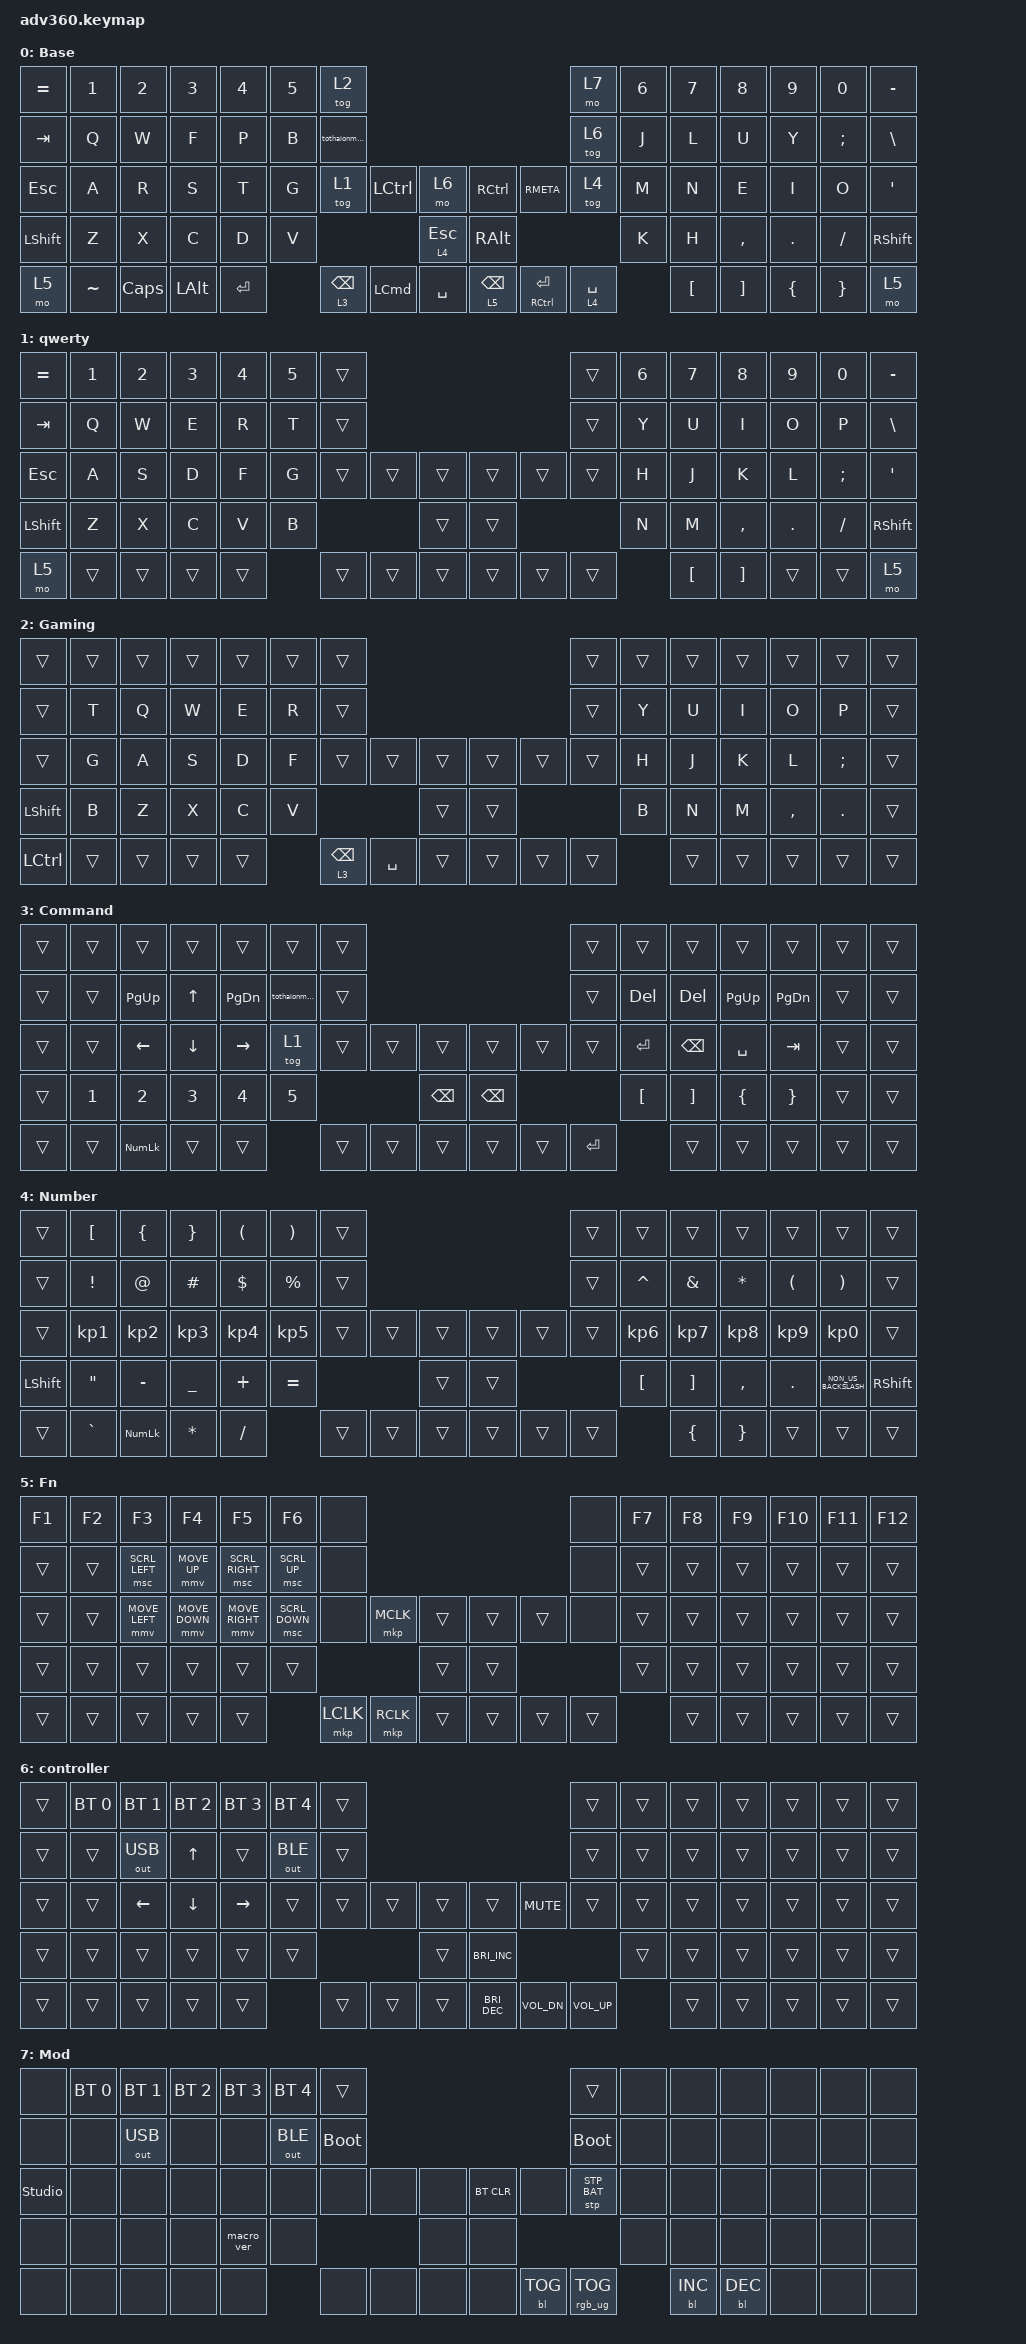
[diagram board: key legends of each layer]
#include <dt-bindings/zmk/stp.h>
#include <behaviors.dtsi>
#include <dt-bindings/zmk/backlight.h>
#include <dt-bindings/zmk/bt.h>
#include <dt-bindings/zmk/keys.h>
#include <dt-bindings/zmk/outputs.h>
#include <dt-bindings/zmk/pointing.h>
#include <dt-bindings/zmk/rgb.h>

/ {
    behaviors {
        #include "macros.dtsi"
      #include "version.dtsi"

        hm: homerow_mods {
            compatible = "zmk,behavior-hold-tap";
            label = "HOMEROW_MODS";
            #binding-cells = <2>;
            tapping-term-ms = <200>;
            quick_tap_ms = <175>;
            flavor = "tap-preferred";
            bindings = <&kp>, <&kp>;
        };

        thumb_layer_spacebar: thumb_layer_spacebar {
            compatible = "zmk,behavior-hold-tap";
            label = "THUMB_LAYER_SPACEBAR";
            bindings = <&mo>, <&kp>;

            #binding-cells = <2>;
            tapping-term-ms = <170>;
            quick-tap-ms = <200>;
            flavor = "balanced";
        };

        thumb_layer: thumb_layer {
            compatible = "zmk,behavior-hold-tap";
            label = "THUMB_LAYER";
            bindings = <&mo>, <&kp>;

            #binding-cells = <2>;
            flavor = "balanced";
            tapping-term-ms = <200>;
            quick-tap-ms = <300>;
        };
    };

    macros {
        tothaionmac: tothaionmac {
            compatible = "zmk,behavior-macro";
            #binding-cells = <0>;
            bindings = <&kp CAPSLOCK &tog 1>;
            label = "TOTHAIONMAC";
        };
    };

    keymap {
        compatible = "zmk,keymap";

        default_layer {
            display-name = "Base";
            bindings = <
&kp EQUAL  &kp N1     &kp N2    &kp N3    &kp N4     &kp N5  &tog 2                                                                                                    &mo 7                 &kp N6  &kp N7            &kp N8             &kp N9          &kp N0           &kp MINUS
&kp TAB    &kp Q      &kp W     &kp F     &kp P      &kp B   &tothaionmac                                                                                              &tog 6                &kp J   &kp L             &kp U              &kp Y           &kp SEMICOLON    &kp BSLH
&kp ESC    &kp A      &kp R     &kp S     &kp T      &kp G   &tog 1                             &kp LCTRL  &mo 6             &kp RCTRL        &kp RMETA                &tog 4                &kp M   &kp N             &kp E              &kp I           &kp O            &kp SQT
&kp LSHFT  &kp Z      &kp X     &kp C     &kp D      &kp V                                                 &lt 4 ESCAPE      &kp RIGHT_ALT                                                   &kp K   &kp H             &kp COMMA          &kp DOT         &kp FSLH         &kp RSHFT
&mo 5      &kp TILDE  &kp CAPS  &kp LALT  &kp ENTER          &thumb_layer_spacebar 3 BACKSPACE  &kp LCMD   &kp SPACE         &lt 5 BACKSPACE  &mt RIGHT_CONTROL ENTER  &thumb_layer 4 SPACE          &kp LEFT_BRACKET  &kp RIGHT_BRACKET  &kp LEFT_BRACE  &kp RIGHT_BRACE  &mo 5
            >;
        };

        qwerty {
            display-name = "qwerty";
            bindings = <
&kp EQUAL  &kp N1  &kp N2  &kp N3  &kp N4  &kp N5  &trans                                      &trans  &kp N6  &kp N7            &kp N8             &kp N9   &kp N0    &kp MINUS
&kp TAB    &kp Q   &kp W   &kp E   &kp R   &kp T   &trans                                      &trans  &kp Y   &kp U             &kp I              &kp O    &kp P     &kp BSLH
&kp ESC    &kp A   &kp S   &kp D   &kp F   &kp G   &trans  &trans  &trans      &trans  &trans  &trans  &kp H   &kp J             &kp K              &kp L    &kp SEMI  &kp SQT
&kp LSHFT  &kp Z   &kp X   &kp C   &kp V   &kp B                   &trans      &trans                  &kp N   &kp M             &kp COMMA          &kp DOT  &kp FSLH  &kp RSHFT
&mo 5      &trans  &trans  &trans  &trans          &trans  &trans  &trans      &trans  &trans  &trans          &kp LEFT_BRACKET  &kp RIGHT_BRACKET  &trans   &trans    &mo 5
            >;
        };

        Gaming {
            label = "Gaming";
            bindings = <
&trans          &trans  &trans  &trans  &trans  &trans  &trans                                                           &trans  &trans  &trans  &trans  &trans     &trans    &trans
&trans          &kp T   &kp Q   &kp W   &kp E   &kp R   &trans                                                           &trans  &kp Y   &kp U   &kp I   &kp O      &kp P     &trans
&trans          &kp G   &kp A   &kp S   &kp D   &kp F   &trans                    &trans     &trans      &trans  &trans  &trans  &kp H   &kp J   &kp K   &kp L      &kp SEMI  &trans
&kp LEFT_SHIFT  &kp B   &kp Z   &kp X   &kp C   &kp V                                        &trans      &trans                  &kp B   &kp N   &kp M   &kp COMMA  &kp DOT   &trans
&kp LCTRL       &trans  &trans  &trans  &trans          &thumb_layer 3 BACKSPACE  &kp SPACE  &trans      &trans  &trans  &trans          &trans  &trans  &trans     &trans    &trans
            >;
        };

        cmd {
            bindings = <
&trans  &trans  &trans          &trans    &trans         &trans        &trans                                          &trans     &trans            &trans             &trans          &trans           &trans  &trans
&trans  &trans  &kp PAGE_UP     &kp UP    &kp PAGE_DOWN  &tothaionmac  &trans                                          &trans     &kp DELETE        &kp DEL            &kp PAGE_UP     &kp PAGE_DOWN    &trans  &trans
&trans  &trans  &kp LEFT        &kp DOWN  &kp RIGHT      &tog 1        &trans  &trans  &trans        &trans    &trans  &trans     &kp ENTER         &kp BACKSPACE      &kp SPACE       &kp TAB          &trans  &trans
&trans  &kp N1  &kp N2          &kp N3    &kp N4         &kp N5                        &kp BSPC      &kp BSPC                     &kp LEFT_BRACKET  &kp RIGHT_BRACKET  &kp LEFT_BRACE  &kp RIGHT_BRACE  &trans  &trans
&trans  &trans  &kp KP_NUMLOCK  &trans    &trans                       &trans  &trans  &trans        &trans    &trans  &kp ENTER                    &trans             &trans          &trans           &trans  &trans
            >;

            label = "Command";
        };

        number {
            bindings = <
&trans     &kp LEFT_BRACKET   &kp LEFT_BRACE   &kp RIGHT_BRACE  &kp LEFT_PARENTHESIS  &kp RIGHT_PARENTHESIS  &trans                                      &trans  &trans            &trans             &trans           &trans                &trans                 &trans
&trans     &kp EXCLAMATION    &kp AT           &kp HASH         &kp DLLR              &kp PRCNT              &trans                                      &trans  &kp CARET         &kp AMPERSAND      &kp ASTERISK     &kp LEFT_PARENTHESIS  &kp RIGHT_PARENTHESIS  &trans
&trans     &kp KP_NUMBER_1    &kp KP_NUMBER_2  &kp KP_NUMBER_3  &kp KP_NUMBER_4       &kp KP_NUMBER_5        &trans  &trans  &trans      &trans  &trans  &trans  &kp KP_NUMBER_6   &kp KP_NUMBER_7    &kp KP_N8        &kp KP_NUMBER_9       &kp KP_NUMBER_0        &trans
&kp LSHFT  &kp DOUBLE_QUOTES  &kp MINUS        &kp UNDERSCORE   &kp PLUS              &kp EQUAL                              &trans      &trans                  &kp LEFT_BRACKET  &kp RIGHT_BRACKET  &kp COMMA        &kp DOT               &kp NON_US_BACKSLASH   &kp RSHFT
&trans     &kp GRAVE          &kp KP_NUM       &kp ASTERISK     &kp SLASH                                    &trans  &trans  &trans      &trans  &trans  &trans                    &kp LEFT_BRACE     &kp RIGHT_BRACE  &trans                &trans                 &trans
            >;

            label = "Number";
        };

        fn {
            display-name = "Fn";
            bindings = <
&kp F1  &kp F2  &kp F3          &kp F4          &kp F5           &kp F6          &none                                             &none   &kp F7  &kp F8  &kp F9  &kp F10  &kp F11  &kp F12
&trans  &trans  &msc SCRL_LEFT  &mmv MOVE_UP    &msc SCRL_RIGHT  &msc SCRL_UP    &none                                             &none   &trans  &trans  &trans  &trans   &trans   &trans
&trans  &trans  &mmv MOVE_LEFT  &mmv MOVE_DOWN  &mmv MOVE_RIGHT  &msc SCRL_DOWN  &none      &mkp MCLK  &trans      &trans  &trans  &none   &trans  &trans  &trans  &trans   &trans   &trans
&trans  &trans  &trans          &trans          &trans           &trans                                &trans      &trans                  &trans  &trans  &trans  &trans   &trans   &trans
&trans  &trans  &trans          &trans          &trans                           &mkp LCLK  &mkp RCLK  &trans      &trans  &trans  &trans          &trans  &trans  &trans   &trans   &trans
            >;
        };

        controller {
            bindings = <
&trans  &bt BT_SEL 0  &bt BT_SEL 1  &bt BT_SEL 2  &bt BT_SEL 3  &bt BT_SEL 4  &trans                                                          &trans           &trans  &trans  &trans  &trans  &trans  &trans
&trans  &trans        &out OUT_USB  &kp UP        &trans        &out OUT_BLE  &trans                                                          &trans           &trans  &trans  &trans  &trans  &trans  &trans
&trans  &trans        &kp LEFT      &kp DOWN      &kp RIGHT     &trans        &trans  &trans  &trans      &trans                &kp C_MUTE    &trans           &trans  &trans  &trans  &trans  &trans  &trans
&trans  &trans        &trans        &trans        &trans        &trans                        &trans      &kp C_BRIGHTNESS_INC                                 &trans  &trans  &trans  &trans  &trans  &trans
&trans  &trans        &trans        &trans        &trans                      &trans  &trans  &trans      &kp C_BRIGHTNESS_DEC  &kp C_VOL_DN  &kp C_VOLUME_UP          &trans  &trans  &trans  &trans  &trans
            >;
        };

        mod {
            display-name = "Mod";
            bindings = <
&none           &bt BT_SEL 0  &bt BT_SEL 1  &bt BT_SEL 2  &bt BT_SEL 3  &bt BT_SEL 4  &trans                                                 &trans           &none  &none       &none       &none  &none  &none
&none           &none         &out OUT_USB  &none         &none         &out OUT_BLE  &bootloader                                            &bootloader      &none  &none       &none       &none  &none  &none
&studio_unlock  &none         &none         &none         &none         &none         &none        &none  &none      &bt BT_CLR  &none       &stp STP_BAT     &none  &none       &none       &none  &none  &none
&none           &none         &none         &none         &macro_ver    &none                             &none      &none                                    &none  &none       &none       &none  &none  &none
&none           &none         &none         &none         &none                       &none        &none  &none      &none       &bl BL_TOG  &rgb_ug RGB_TOG         &bl BL_INC  &bl BL_DEC  &none  &none  &none
            >;
        };

        extra1 {
            display-name = "Red";
            status = "reserved";
        };

        extra2 {
            display-name = "Purple";
            status = "reserved";
        };

        extra3 {
            display-name = "Cyan";
            status = "reserved";
        };

        extra4 {
            display-name = "Yellow";
            status = "reserved";
        };
    };
};
